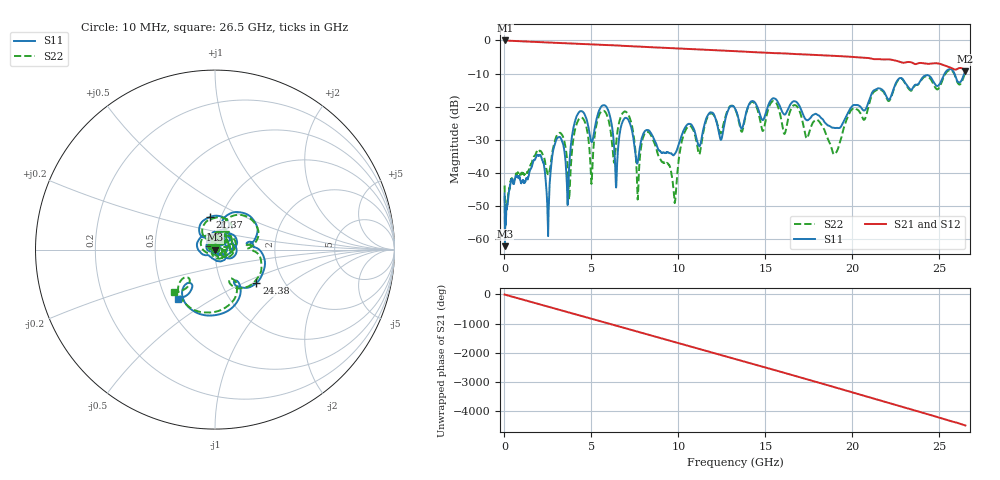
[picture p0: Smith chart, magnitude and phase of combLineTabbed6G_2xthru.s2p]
!Keysight Technologies,N5242B,MY48220591,A.15.75.19
!Date: Wednesday, September 06, 2023 15:31:00
!Correction: S11(C  2-Port  )
!S21(C  2-Port  )
!S12(C  2-Port  )
!S22(C  2-Port  )
!S2P File: Measurements: S11, S21, S12, S22:
# Hz S  RI  R 50
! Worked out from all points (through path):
!   2650 points, 10 MHz to 26.5 GHz, reference 50 ohm
!   highest |S21| = -0.01 dB at 20 MHz (marker M1); lowest = -9.3 dB at 26.5 GHz (marker M2)
!   group delay of S21, straight-line fit = 469 ps
!   lowest |S11| = -62.2 dB at 30 MHz (marker M3), VSWR 1.00, Z = 50 - j0.0648 ohm
!   |S11| at or under -10 dB: start of sweep to 25.31 GHz; 25.87 GHz to 26.44 GHz (572.5 MHz wide, 2.19 % of centre)
!   |S22| runs from -59.5 to -8.9 dB; largest |S21 - S12| = 0.0012
!   S11 on the Smith chart (normalised r, x): 10 MHz: 1.00, +0.01; 21.37 GHz: 0.89, +0.33; 24.38 GHz: 1.46, -0.59; 26.5 GHz: 0.57, -0.36
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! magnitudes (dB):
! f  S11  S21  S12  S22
! 10 MHz  -46.3  0.0  0.0  -43.8
! 20 MHz  -53.6  0.0  0.0  -48.0
! 30 MHz  -62.2  0.0  0.0  -58.3
! 1.96 GHz  -34.8  -0.5  -0.5  -33.6
! 2.51 GHz  -59.1  -0.6  -0.6  -40.4
! 3.1 GHz  -29.2  -0.8  -0.8  -28.2
! 3.64 GHz  -49.7  -0.9  -0.9  -38.8
! 4.43 GHz  -21.4  -1.1  -1.1  -23.3
! 4.99 GHz  -30.6  -1.2  -1.2  -42.9
! 5.66 GHz  -19.6  -1.3  -1.3  -21.2
! 6.42 GHz  -44.4  -1.5  -1.5  -31.0
! 6.96 GHz  -23.4  -1.7  -1.7  -21.5
! 8.84 GHz  -33.0  -2.1  -2.1  -34.7
! 9.79 GHz  -34.3  -2.4  -2.4  -49.1
! 10.49 GHz  -25.6  -2.6  -2.6  -26.4
! 13.26 GHz  -20.6  -3.3  -3.3  -20.7
! 17.67 GHz  -22.9  -4.3  -4.3  -25.5
! 19.01 GHz  -26.5  -4.7  -4.7  -34.2
! 21.37 GHz  -14.7  -5.7  -5.7  -15.1
! 22.09 GHz  -17.9  -5.7  -5.7  -18.3
! 24.38 GHz  -10.6  -7.1  -7.1  -11.1
! 26.5 GHz  -9.3  -9.3  -9.3  -9.7
